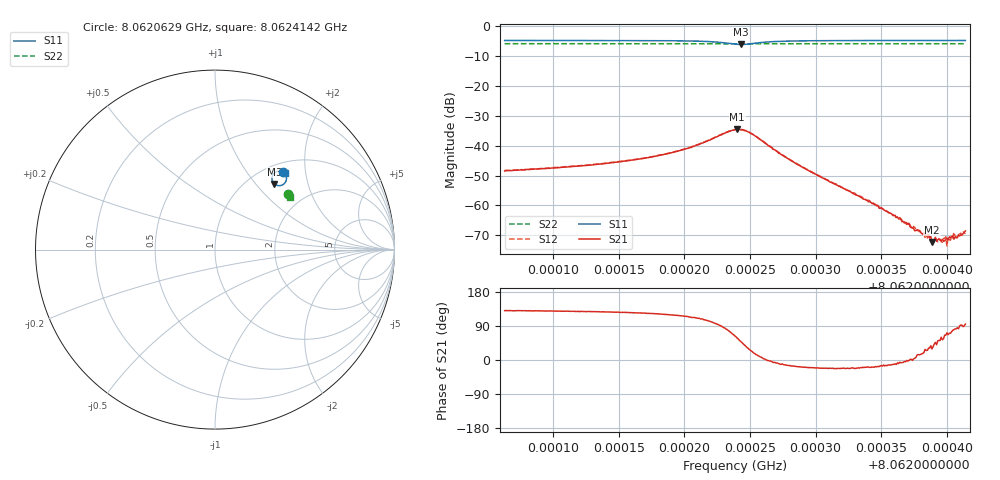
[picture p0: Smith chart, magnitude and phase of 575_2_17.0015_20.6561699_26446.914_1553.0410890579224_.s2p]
#  HZ  S  RI  R  50.00
! Rohde & Schwarz Vector Network Analyzer
! Rohde-Schwarz,ZNB20-2Port,1311601062101988,3.16
! Created: UTC 3/20/2024, 11:17:53 PM
! freq[Hz]  re:S11  im:S11  re:S21  im:S21  re:S12  im:S12  re:S22  im:S22
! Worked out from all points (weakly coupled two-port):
!   401 points, 8.0620629 GHz to 8.0624142 GHz, reference 50 ohm
!   highest |S21| = -34.57 dB at 8.0622403 GHz (marker M1); lowest = -72.2 dB at 8.0623887 GHz (marker M2)
!   lowest |S11| = -6.1 dB at 8.062243 GHz (marker M3), VSWR 2.95, Z = 65.1 + j63 ohm
!   |S11| at or under -10 dB: nowhere
!   |S22| runs from -5.9 to -5.9 dB; largest |S21 - S12| = 0.0012
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8.06206293e9  0.3813 0.4318  -0.00242 0.00287  -0.00229 0.00306  0.4047 0.3078
8.06212177e9  0.3868 0.426  -0.00285 0.00363  -0.00266 0.00382  0.407 0.305
8.06218061e9  0.3946 0.4136  -0.00357 0.00584  -0.00327 0.0061  0.4091 0.3015
8.06220519e9  0.3982 0.3997  -0.00354 0.00861  -0.00323 0.00896  0.4099 0.2995
8.06222539e9  0.3901 0.3721  -0.000978 0.0142  -0.000227 0.0145  0.4098 0.2976
8.06223856e9  0.3499 0.3568  0.0083 0.0165  0.00933 0.0161  0.4082 0.2968
8.06224032e9  0.3421 0.359  0.0101 0.0157  0.011 0.0152  0.4079 0.2969
8.06224296e9  0.3314 0.3656  0.0121 0.0138  0.013 0.0134  0.4077 0.2972
8.06225262e9  0.3178 0.4041  0.0144 0.00498  0.0147 0.0043  0.4077 0.2986
8.06227369e9  0.3479 0.4359  0.00696 -0.00144  0.00703 -0.00182  0.4104 0.2987
8.0622974e9  0.366 0.4364  0.00334 -0.00124  0.00329 -0.00146  0.412 0.2974
8.06233956e9  0.3786 0.4316  0.00113 -0.000376  0.00109 -0.000504  0.414 0.2949
8.06235624e9  0.3815 0.4302  0.000729 -0.000166  0.000718 -0.000233  0.4145 0.294
8.06236941e9  0.3832 0.4289  0.000514 -1.06e-05  0.000476 -4.84e-05  0.415 0.2932
8.06237468e9  0.384 0.4285  0.000408 2.07e-05  0.000446 -6.28e-06  0.4151 0.2929
8.06237907e9  0.3845 0.4281  0.000361 8.74e-05  0.000382 3.13e-05  0.4154 0.2926
8.06238346e9  0.385 0.4278  0.000298 0.000159  0.000288 5.49e-05  0.4156 0.2926
8.06238873e9  0.3856 0.4274  0.000214 0.00012  0.000207 0.000127  0.4158 0.2923
8.06239664e9  0.3864 0.4267  0.000161 0.000217  0.00014 0.000195  0.416 0.2917
8.06240191e9  0.3869 0.4264  9.85e-05 0.00028  0.000135 0.00023  0.4161 0.2914
8.06240717e9  0.3876 0.426  3.89e-05 0.000284  3.79e-05 0.00029  0.4164 0.2911
8.0624142e9  0.3882 0.4255  -2.98e-05 0.000372  1.67e-06 0.000334  0.4167 0.2908
